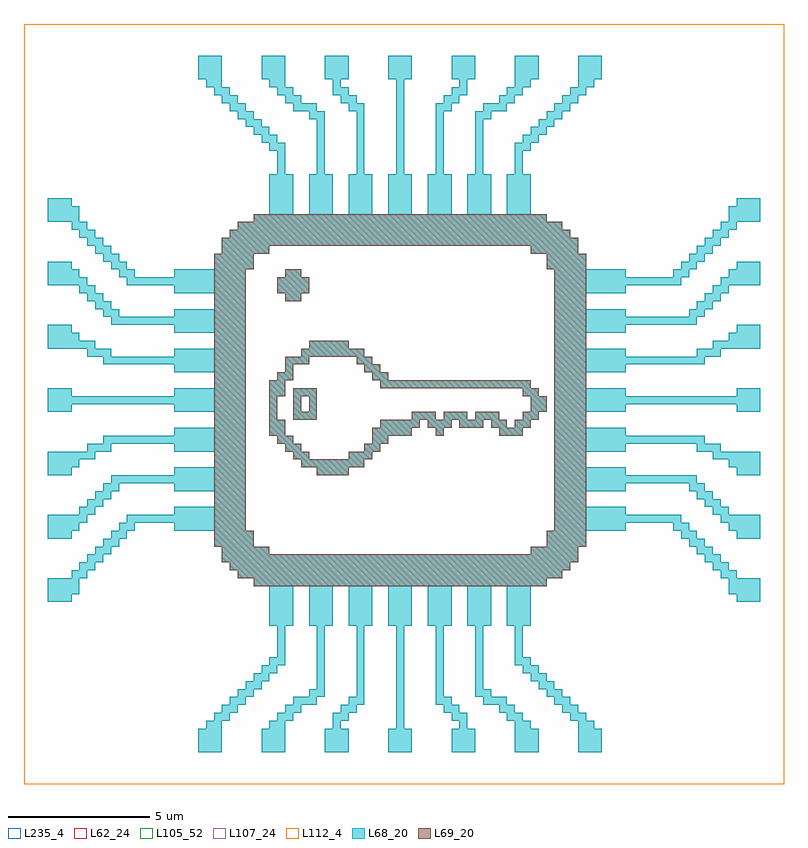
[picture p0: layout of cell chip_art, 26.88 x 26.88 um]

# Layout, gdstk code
import gdstk
lib = gdstk.Library(unit=1e-6, precision=1e-09)
def R(c, l, rs):  # rectangles x0, y0, x1, y1
    for r in rs: c.add(gdstk.rectangle(r[:2], r[2:], *l))
def A(c, l, x, y, w, h, nx, ny, dx, dy):  # array of equal rectangles
    R(c, l, [(x+i*dx, y+j*dy, x+i*dx+w, y+j*dy+h) for i in range(nx) for j in range(ny)])
L62_24 = (62, 24)
L68_20 = (68, 20)
L69_20 = (69, 20)
L105_52 = (105, 52)
L107_24 = (107, 24)
L112_4 = (112, 4)
L235_4 = (235, 4)

chip_art = lib.new_cell('chip_art')
R(chip_art, L62_24, [(0,0,26.88,26.88)])
A(chip_art, L68_20, 6.16, 1.12, 0.28, 0.28, 3, 3, 0.28, 0.28)
A(chip_art, L68_20, 8.4, 1.12, 0.28, 0.28, 3, 3, 0.28, 0.28)
A(chip_art, L68_20, 10.64, 1.12, 0.28, 0.28, 3, 3, 0.28, 0.28)
A(chip_art, L68_20, 12.88, 1.12, 0.28, 0.28, 3, 3, 0.28, 0.28)
A(chip_art, L68_20, 15.12, 1.12, 0.28, 0.28, 3, 3, 0.28, 0.28)
A(chip_art, L68_20, 17.36, 1.12, 0.28, 0.28, 3, 3, 0.28, 0.28)
A(chip_art, L68_20, 19.6, 1.12, 0.28, 0.28, 3, 3, 0.28, 0.28)
A(chip_art, L68_20, 10.92, 1.96, 0.28, 0.28, 3, 2, 2.24, 22.68)
A(chip_art, L68_20, 11.2, 2.24, 0.28, 0.28, 3, 2, 1.96, 22.12)
A(chip_art, L68_20, 11.48, 2.52, 0.28, 0.28, 3, 2, 1.68, 21.56)
A(chip_art, L68_20, 9.52, 2.8, 0.28, 0.28, 3, 2, 0.28, 10.08)
A(chip_art, L68_20, 11.76, 2.8, 0.28, 0.28, 3, 2, 1.4, 21)
A(chip_art, L68_20, 16.24, 2.8, 0.28, 0.28, 3, 2, 0.28, 21)
A(chip_art, L68_20, 10.36, 3.08, 0.28, 0.28, 5, 4, 1.4, 0.28)
A(chip_art, L68_20, 8.96, 4.2, 0.28, 0.28, 7, 5, 1.4, 0.28)
A(chip_art, L68_20, 8.68, 5.6, 0.28, 0.28, 3, 5, 0.28, 0.28)
A(chip_art, L68_20, 10.08, 5.6, 0.28, 0.28, 3, 5, 0.28, 0.28)
A(chip_art, L68_20, 11.48, 5.6, 0.28, 0.28, 3, 5, 0.28, 0.28)
A(chip_art, L68_20, 12.88, 5.6, 0.28, 0.28, 3, 5, 0.28, 0.28)
A(chip_art, L68_20, 14.28, 5.6, 0.28, 0.28, 3, 5, 0.28, 0.28)
A(chip_art, L68_20, 15.68, 5.6, 0.28, 0.28, 3, 5, 0.28, 0.28)
A(chip_art, L68_20, 17.08, 5.6, 0.28, 0.28, 3, 5, 0.28, 0.28)
A(chip_art, L68_20, 0.84, 6.44, 0.28, 0.28, 3, 4, 0.28, 2.24)
A(chip_art, L68_20, 25.2, 6.44, 0.28, 0.28, 3, 4, 0.28, 2.24)
A(chip_art, L68_20, 0.84, 6.72, 0.28, 0.28, 4, 2, 0.28, 0.28)
A(chip_art, L68_20, 24.92, 6.72, 0.28, 0.28, 4, 2, 0.28, 0.28)
A(chip_art, L68_20, 8.12, 7, 0.28, 0.28, 37, 2, 0.28, 12.88)
A(chip_art, L68_20, 7.56, 7.28, 0.28, 0.28, 41, 2, 0.28, 12.32)
A(chip_art, L68_20, 7.28, 7.56, 0.28, 0.28, 43, 2, 0.28, 11.76)
A(chip_art, L68_20, 7, 7.84, 0.28, 0.28, 45, 2, 0.28, 11.2)
A(chip_art, L68_20, 7, 8.12, 0.28, 0.28, 6, 2, 0.28, 10.64)
A(chip_art, L68_20, 17.92, 8.12, 0.28, 0.28, 6, 2, 0.28, 10.64)
A(chip_art, L68_20, 6.72, 8.4, 0.28, 0.28, 5, 2, 0.28, 0.28)
A(chip_art, L68_20, 18.48, 8.4, 0.28, 0.28, 5, 2, 0.28, 0.28)
A(chip_art, L68_20, 0.84, 8.96, 0.28, 0.28, 4, 2, 0.28, 2.24)
A(chip_art, L68_20, 5.32, 8.96, 0.28, 0.28, 9, 2, 0.28, 0.56)
A(chip_art, L68_20, 18.76, 8.96, 0.28, 0.28, 9, 2, 0.28, 0.56)
A(chip_art, L68_20, 24.92, 8.96, 0.28, 0.28, 4, 2, 0.28, 2.24)
A(chip_art, L68_20, 0.84, 9.24, 0.28, 0.28, 5, 2, 0.28, 8.4)
A(chip_art, L68_20, 3.64, 9.24, 0.28, 0.28, 15, 2, 0.28, 8.4)
A(chip_art, L68_20, 18.76, 9.24, 0.28, 0.28, 16, 2, 0.28, 8.4)
A(chip_art, L68_20, 24.64, 9.24, 0.28, 0.28, 5, 2, 0.28, 8.4)
A(chip_art, L68_20, 6.72, 9.8, 0.28, 0.28, 4, 2, 0.28, 0.28)
A(chip_art, L68_20, 18.76, 9.8, 0.28, 0.28, 4, 2, 0.28, 0.28)
A(chip_art, L68_20, 5.32, 10.36, 0.28, 0.28, 9, 2, 0.28, 0.56)
A(chip_art, L68_20, 18.76, 10.36, 0.28, 0.28, 9, 2, 0.28, 0.56)
A(chip_art, L68_20, 3.08, 10.64, 0.28, 0.28, 17, 2, 0.28, 5.6)
A(chip_art, L68_20, 18.76, 10.64, 0.28, 0.28, 18, 2, 0.28, 5.6)
A(chip_art, L68_20, 10.36, 10.92, 0.28, 0.28, 4, 1, 0.28, 0)
A(chip_art, L68_20, 6.72, 11.2, 0.28, 0.28, 4, 2, 0.28, 0.28)
A(chip_art, L68_20, 9.8, 11.2, 0.28, 0.28, 8, 2, 0.28, 3.92)
A(chip_art, L68_20, 18.76, 11.2, 0.28, 0.28, 4, 2, 0.28, 0.28)
A(chip_art, L68_20, 0.84, 11.48, 0.28, 0.28, 6, 2, 0.28, 3.92)
A(chip_art, L68_20, 11.48, 11.48, 0.28, 0.28, 3, 2, 0.28, 8.68)
A(chip_art, L68_20, 24.36, 11.48, 0.28, 0.28, 6, 2, 0.28, 3.92)
A(chip_art, L68_20, 2.24, 11.76, 0.28, 0.28, 3, 2, 0.28, 3.36)
A(chip_art, L68_20, 5.32, 11.76, 0.28, 0.28, 9, 2, 0.28, 0.56)
A(chip_art, L68_20, 18.76, 11.76, 0.28, 0.28, 9, 2, 0.28, 0.56)
A(chip_art, L68_20, 23.8, 11.76, 0.28, 0.28, 3, 2, 0.28, 3.36)
A(chip_art, L68_20, 2.8, 12.04, 0.28, 0.28, 18, 2, 0.28, 2.8)
A(chip_art, L68_20, 8.96, 12.04, 0.28, 0.28, 1, 3, 0, 0.28)
A(chip_art, L68_20, 18.76, 12.04, 0.28, 0.28, 19, 2, 0.28, 2.8)
A(chip_art, L68_20, 8.68, 12.32, 0.28, 0.28, 1, 7, 0, 0.28)
A(chip_art, L68_20, 12.32, 12.32, 0.28, 0.28, 5, 1, 0.28, 0)
A(chip_art, L68_20, 16.8, 12.32, 0.28, 0.28, 3, 1, 0.28, 0)
A(chip_art, L68_20, 6.72, 12.6, 0.28, 0.28, 4, 2, 0.28, 0.28)
A(chip_art, L68_20, 12.6, 12.6, 0.28, 0.28, 5, 1, 0.28, 0)
A(chip_art, L68_20, 14.28, 12.6, 0.28, 0.28, 3, 2, 0.28, 7.56)
A(chip_art, L68_20, 15.4, 12.6, 0.28, 0.28, 3, 1, 0.28, 0)
A(chip_art, L68_20, 18.76, 12.6, 0.28, 0.28, 4, 2, 0.28, 0.28)
A(chip_art, L68_20, 13.72, 12.88, 0.28, 0.28, 3, 1, 0.28, 0)
A(chip_art, L68_20, 14.84, 12.88, 0.28, 0.28, 3, 1, 0.28, 0)
A(chip_art, L68_20, 15.96, 12.88, 0.28, 0.28, 3, 1, 0.28, 0)
A(chip_art, L68_20, 17.92, 12.88, 0.28, 0.28, 1, 4, 0, 0.28)
A(chip_art, L68_20, 5.32, 13.16, 0.28, 0.28, 9, 2, 0.28, 0.56)
A(chip_art, L68_20, 18.76, 13.16, 0.28, 0.28, 9, 2, 0.28, 0.56)
A(chip_art, L68_20, 0.84, 13.44, 0.28, 0.28, 25, 1, 0.28, 0)
A(chip_art, L68_20, 18.76, 13.44, 0.28, 0.28, 26, 1, 0.28, 0)
A(chip_art, L68_20, 0.84, 13.72, 0.28, 0.28, 3, 4, 0.28, 2.24)
A(chip_art, L68_20, 8.96, 13.72, 0.28, 0.28, 1, 3, 0, 0.28)
A(chip_art, L68_20, 9.52, 13.72, 0.28, 0.28, 3, 2, 0.28, 10.08)
A(chip_art, L68_20, 25.2, 13.72, 0.28, 0.28, 3, 4, 0.28, 2.24)
A(chip_art, L68_20, 6.72, 14, 0.28, 0.28, 4, 2, 0.28, 0.28)
A(chip_art, L68_20, 12.6, 14, 0.28, 0.28, 19, 1, 0.28, 0)
A(chip_art, L68_20, 18.76, 14, 0.28, 0.28, 4, 2, 0.28, 0.28)
A(chip_art, L68_20, 5.32, 14.56, 0.28, 0.28, 9, 2, 0.28, 0.56)
A(chip_art, L68_20, 18.76, 14.56, 0.28, 0.28, 9, 2, 0.28, 0.56)
A(chip_art, L68_20, 9.24, 14.84, 0.28, 0.28, 3, 1, 0.28, 0)
A(chip_art, L68_20, 6.72, 15.4, 0.28, 0.28, 4, 2, 0.28, 0.28)
A(chip_art, L68_20, 10.08, 15.4, 0.28, 0.28, 5, 1, 0.28, 0)
A(chip_art, L68_20, 18.76, 15.4, 0.28, 0.28, 4, 2, 0.28, 0.28)
A(chip_art, L68_20, 0.84, 15.68, 0.28, 0.28, 4, 2, 0.28, 2.24)
A(chip_art, L68_20, 24.92, 15.68, 0.28, 0.28, 4, 2, 0.28, 2.24)
A(chip_art, L68_20, 5.32, 15.96, 0.28, 0.28, 9, 2, 0.28, 0.56)
A(chip_art, L68_20, 18.76, 15.96, 0.28, 0.28, 9, 2, 0.28, 0.56)
A(chip_art, L68_20, 6.72, 16.8, 0.28, 0.28, 4, 2, 0.28, 0.28)
A(chip_art, L68_20, 18.76, 16.8, 0.28, 0.28, 4, 2, 0.28, 0.28)
A(chip_art, L68_20, 5.32, 17.36, 0.28, 0.28, 9, 2, 0.28, 0.56)
A(chip_art, L68_20, 8.96, 17.36, 0.28, 0.28, 4, 2, 0.28, 0.28)
A(chip_art, L68_20, 18.76, 17.36, 0.28, 0.28, 9, 2, 0.28, 0.56)
A(chip_art, L68_20, 6.72, 18.2, 0.28, 0.28, 5, 2, 0.28, 0.28)
A(chip_art, L68_20, 18.48, 18.2, 0.28, 0.28, 5, 2, 0.28, 0.28)
A(chip_art, L68_20, 0.84, 19.88, 0.28, 0.28, 4, 2, 0.28, 0.28)
A(chip_art, L68_20, 24.92, 19.88, 0.28, 0.28, 4, 2, 0.28, 0.28)
A(chip_art, L68_20, 8.68, 20.16, 0.28, 0.28, 3, 5, 0.28, 0.28)
A(chip_art, L68_20, 10.08, 20.16, 0.28, 0.28, 3, 5, 0.28, 0.28)
A(chip_art, L68_20, 12.88, 20.16, 0.28, 0.28, 3, 5, 0.28, 0.28)
A(chip_art, L68_20, 15.68, 20.16, 0.28, 0.28, 3, 5, 0.28, 0.28)
A(chip_art, L68_20, 17.08, 20.16, 0.28, 0.28, 3, 5, 0.28, 0.28)
A(chip_art, L68_20, 11.48, 20.44, 0.28, 0.28, 3, 4, 0.28, 0.28)
A(chip_art, L68_20, 14.28, 20.44, 0.28, 0.28, 3, 4, 0.28, 0.28)
A(chip_art, L68_20, 8.96, 21.56, 0.28, 0.28, 7, 4, 1.4, 0.28)
A(chip_art, L68_20, 10.36, 22.68, 0.28, 0.28, 5, 4, 1.4, 0.28)
A(chip_art, L68_20, 6.16, 24.92, 0.28, 0.28, 3, 3, 0.28, 0.28)
A(chip_art, L68_20, 8.4, 24.92, 0.28, 0.28, 3, 3, 0.28, 0.28)
A(chip_art, L68_20, 10.64, 24.92, 0.28, 0.28, 3, 3, 0.28, 0.28)
A(chip_art, L68_20, 12.88, 24.92, 0.28, 0.28, 3, 3, 0.28, 0.28)
A(chip_art, L68_20, 15.12, 24.92, 0.28, 0.28, 3, 3, 0.28, 0.28)
A(chip_art, L68_20, 17.36, 24.92, 0.28, 0.28, 3, 3, 0.28, 0.28)
A(chip_art, L68_20, 19.6, 24.92, 0.28, 0.28, 3, 3, 0.28, 0.28)
R(chip_art, L68_20, [(6.44,1.96,6.72,2.24), (6.72,1.96,7,2.24), (8.68,1.96,8.96,2.24), (8.96,1.96,9.24,2.24), (17.36,1.96,17.64,2.24), (17.64,1.96,17.92,2.24), (19.6,1.96,19.88,2.24), (19.88,1.96,20.16,2.24), (6.72,2.24,7,2.52), (7,2.24,7.28,2.52), (8.96,2.24,9.24,2.52), (9.24,2.24,9.52,2.52), (10.92,2.24,11.2,2.52), (15.4,2.24,15.68,2.52), (17.08,2.24,17.36,2.52), (17.36,2.24,17.64,2.52), (19.32,2.24,19.6,2.52), (19.6,2.24,19.88,2.52), (7,2.52,7.28,2.8), (7.28,2.52,7.56,2.8), (9.24,2.52,9.52,2.8), (9.52,2.52,9.8,2.8), (11.2,2.52,11.48,2.8), (15.12,2.52,15.4,2.8), (16.8,2.52,17.08,2.8), (17.08,2.52,17.36,2.8), (19.04,2.52,19.32,2.8), (19.32,2.52,19.6,2.8), (7.28,2.8,7.56,3.08), (7.56,2.8,7.84,3.08), (11.48,2.8,11.76,3.08), (14.84,2.8,15.12,3.08), (18.76,2.8,19.04,3.08), (19.04,2.8,19.32,3.08), (7.56,3.08,7.84,3.36), (7.84,3.08,8.12,3.36), (10.08,3.08,10.36,3.36), (16.24,3.08,16.52,3.36), (18.48,3.08,18.76,3.36), (18.76,3.08,19.04,3.36), (7.84,3.36,8.12,3.64), (8.12,3.36,8.4,3.64), (18.2,3.36,18.48,3.64), (18.48,3.36,18.76,3.64), (8.12,3.64,8.4,3.92), (8.4,3.64,8.68,3.92), (17.92,3.64,18.2,3.92), (18.2,3.64,18.48,3.92), (8.4,3.92,8.68,4.2), (8.68,3.92,8.96,4.2), (17.64,3.92,17.92,4.2), (17.92,3.92,18.2,4.2), (8.68,4.2,8.96,4.48), (17.64,4.2,17.92,4.48), (1.68,7.28,1.96,7.56), (1.96,7.28,2.24,7.56), (24.64,7.28,24.92,7.56), (24.92,7.28,25.2,7.56), (1.96,7.56,2.24,7.84), (2.24,7.56,2.52,7.84), (24.36,7.56,24.64,7.84), (24.64,7.56,24.92,7.84), (2.24,7.84,2.52,8.12), (2.52,7.84,2.8,8.12), (24.08,7.84,24.36,8.12), (24.36,7.84,24.64,8.12), (2.52,8.12,2.8,8.4), (2.8,8.12,3.08,8.4), (23.8,8.12,24.08,8.4), (24.08,8.12,24.36,8.4), (2.8,8.4,3.08,8.68), (3.08,8.4,3.36,8.68), (23.52,8.4,23.8,8.68), (23.8,8.4,24.08,8.68), (3.08,8.68,3.36,8.96), (3.36,8.68,3.64,8.96), (23.24,8.68,23.52,8.96), (23.52,8.68,23.8,8.96), (3.36,8.96,3.64,9.24), (3.64,8.96,3.92,9.24), (22.96,8.96,23.24,9.24), (23.24,8.96,23.52,9.24), (1.96,9.52,2.24,9.8), (2.24,9.52,2.52,9.8), (24.36,9.52,24.64,9.8), (24.64,9.52,24.92,9.8), (2.24,9.8,2.52,10.08), (2.52,9.8,2.8,10.08), (24.08,9.8,24.36,10.08), (24.36,9.8,24.64,10.08), (2.52,10.08,2.8,10.36), (2.8,10.08,3.08,10.36), (23.8,10.08,24.08,10.36), (24.08,10.08,24.36,10.36), (2.8,10.36,3.08,10.64), (3.08,10.36,3.36,10.64), (23.52,10.36,23.8,10.64), (23.8,10.36,24.08,10.64), (9.52,11.48,9.8,11.76), (9.8,11.48,10.08,11.76), (9.24,11.76,9.52,12.04), (9.52,11.76,9.8,12.04), (12.04,11.76,12.32,12.04), (12.32,11.76,12.6,12.04), (9.24,12.04,9.52,12.32), (12.32,12.04,12.6,12.32), (12.6,12.04,12.88,12.32), (14.56,12.32,14.84,12.6), (16.52,12.6,16.8,12.88), (16.8,12.6,17.08,12.88), (17.36,12.6,17.64,12.88), (17.64,12.6,17.92,12.88), (17.64,12.88,17.92,13.16), (9.52,13.16,9.8,13.44), (10.08,13.16,10.36,13.44), (18.2,13.16,18.48,13.44), (9.52,13.44,9.8,13.72), (10.08,13.44,10.36,13.72), (18.2,13.44,18.48,13.72), (17.64,13.72,17.92,14), (9.24,14.28,9.52,14.56), (12.32,14.28,12.6,14.56), (12.6,14.28,12.88,14.56), (9.24,14.56,9.52,14.84), (12.04,14.56,12.32,14.84), (12.32,14.56,12.6,14.84), (11.76,14.84,12.04,15.12), (12.04,14.84,12.32,15.12), (2.8,16.52,3.08,16.8), (3.08,16.52,3.36,16.8), (23.52,16.52,23.8,16.8), (23.8,16.52,24.08,16.8), (2.52,16.8,2.8,17.08), (2.8,16.8,3.08,17.08), (23.8,16.8,24.08,17.08), (24.08,16.8,24.36,17.08), (2.24,17.08,2.52,17.36), (2.52,17.08,2.8,17.36), (9.24,17.08,9.52,17.36), (9.52,17.08,9.8,17.36), (24.08,17.08,24.36,17.36), (24.36,17.08,24.64,17.36), (1.96,17.36,2.24,17.64), (2.24,17.36,2.52,17.64), (24.36,17.36,24.64,17.64), (24.64,17.36,24.92,17.64), (3.36,17.92,3.64,18.2), (3.64,17.92,3.92,18.2), (9.24,17.92,9.52,18.2), (9.52,17.92,9.8,18.2), (22.96,17.92,23.24,18.2), (23.24,17.92,23.52,18.2), (3.08,18.2,3.36,18.48), (3.36,18.2,3.64,18.48), (23.24,18.2,23.52,18.48), (23.52,18.2,23.8,18.48), (2.8,18.48,3.08,18.76), (3.08,18.48,3.36,18.76), (23.52,18.48,23.8,18.76), (23.8,18.48,24.08,18.76), (2.52,18.76,2.8,19.04), (2.8,18.76,3.08,19.04), (23.8,18.76,24.08,19.04), (24.08,18.76,24.36,19.04), (2.24,19.04,2.52,19.32), (2.52,19.04,2.8,19.32), (24.08,19.04,24.36,19.32), (24.36,19.04,24.64,19.32), (1.96,19.32,2.24,19.6), (2.24,19.32,2.52,19.6), (24.36,19.32,24.64,19.6), (24.64,19.32,24.92,19.6), (1.68,19.6,1.96,19.88), (1.96,19.6,2.24,19.88), (24.64,19.6,24.92,19.88), (24.92,19.6,25.2,19.88), (8.68,22.4,8.96,22.68), (17.64,22.4,17.92,22.68), (8.4,22.68,8.68,22.96), (8.68,22.68,8.96,22.96), (17.64,22.68,17.92,22.96), (17.92,22.68,18.2,22.96), (8.12,22.96,8.4,23.24), (8.4,22.96,8.68,23.24), (17.92,22.96,18.2,23.24), (18.2,22.96,18.48,23.24), (7.84,23.24,8.12,23.52), (8.12,23.24,8.4,23.52), (18.2,23.24,18.48,23.52), (18.48,23.24,18.76,23.52), (7.56,23.52,7.84,23.8), (7.84,23.52,8.12,23.8), (10.08,23.52,10.36,23.8), (16.24,23.52,16.52,23.8), (18.48,23.52,18.76,23.8), (18.76,23.52,19.04,23.8), (7.28,23.8,7.56,24.08), (7.56,23.8,7.84,24.08), (11.48,23.8,11.76,24.08), (14.84,23.8,15.12,24.08), (18.76,23.8,19.04,24.08), (19.04,23.8,19.32,24.08), (7,24.08,7.28,24.36), (7.28,24.08,7.56,24.36), (9.24,24.08,9.52,24.36), (9.52,24.08,9.8,24.36), (11.2,24.08,11.48,24.36), (15.12,24.08,15.4,24.36), (16.8,24.08,17.08,24.36), (17.08,24.08,17.36,24.36), (19.04,24.08,19.32,24.36), (19.32,24.08,19.6,24.36), (6.72,24.36,7,24.64), (7,24.36,7.28,24.64), (8.96,24.36,9.24,24.64), (9.24,24.36,9.52,24.64), (10.92,24.36,11.2,24.64), (15.4,24.36,15.68,24.64), (17.08,24.36,17.36,24.64), (17.36,24.36,17.64,24.64), (19.32,24.36,19.6,24.64), (19.6,24.36,19.88,24.64), (6.44,24.64,6.72,24.92), (6.72,24.64,7,24.92), (8.68,24.64,8.96,24.92), (8.96,24.64,9.24,24.92), (17.36,24.64,17.64,24.92), (17.64,24.64,17.92,24.92), (19.6,24.64,19.88,24.92), (19.88,24.64,20.16,24.92)])
A(chip_art, L69_20, 8.12, 7, 0.28, 0.28, 37, 2, 0.28, 12.88)
A(chip_art, L69_20, 7.56, 7.28, 0.28, 0.28, 41, 2, 0.28, 12.32)
A(chip_art, L69_20, 7.28, 7.56, 0.28, 0.28, 43, 2, 0.28, 11.76)
A(chip_art, L69_20, 7, 7.84, 0.28, 0.28, 45, 2, 0.28, 11.2)
A(chip_art, L69_20, 7, 8.12, 0.28, 0.28, 6, 2, 0.28, 10.64)
A(chip_art, L69_20, 17.92, 8.12, 0.28, 0.28, 6, 2, 0.28, 10.64)
A(chip_art, L69_20, 6.72, 8.4, 0.28, 0.28, 5, 2, 0.28, 0.28)
A(chip_art, L69_20, 18.48, 8.4, 0.28, 0.28, 5, 2, 0.28, 0.28)
A(chip_art, L69_20, 6.72, 8.96, 0.28, 0.28, 4, 33, 0.28, 0.28)
A(chip_art, L69_20, 18.76, 8.96, 0.28, 0.28, 4, 33, 0.28, 0.28)
A(chip_art, L69_20, 10.36, 10.92, 0.28, 0.28, 4, 1, 0.28, 0)
A(chip_art, L69_20, 9.8, 11.2, 0.28, 0.28, 8, 2, 0.28, 3.92)
A(chip_art, L69_20, 11.48, 11.48, 0.28, 0.28, 3, 1, 0.28, 0)
A(chip_art, L69_20, 8.96, 12.04, 0.28, 0.28, 1, 3, 0, 0.28)
A(chip_art, L69_20, 8.68, 12.32, 0.28, 0.28, 1, 7, 0, 0.28)
A(chip_art, L69_20, 12.32, 12.32, 0.28, 0.28, 5, 1, 0.28, 0)
A(chip_art, L69_20, 16.8, 12.32, 0.28, 0.28, 3, 1, 0.28, 0)
A(chip_art, L69_20, 12.6, 12.6, 0.28, 0.28, 5, 1, 0.28, 0)
A(chip_art, L69_20, 14.28, 12.6, 0.28, 0.28, 3, 1, 0.28, 0)
A(chip_art, L69_20, 15.4, 12.6, 0.28, 0.28, 3, 1, 0.28, 0)
A(chip_art, L69_20, 9.52, 12.88, 0.28, 0.28, 3, 2, 0.28, 0.84)
A(chip_art, L69_20, 13.72, 12.88, 0.28, 0.28, 3, 1, 0.28, 0)
A(chip_art, L69_20, 14.84, 12.88, 0.28, 0.28, 3, 1, 0.28, 0)
A(chip_art, L69_20, 15.96, 12.88, 0.28, 0.28, 3, 1, 0.28, 0)
A(chip_art, L69_20, 17.92, 12.88, 0.28, 0.28, 1, 4, 0, 0.28)
A(chip_art, L69_20, 8.96, 13.72, 0.28, 0.28, 1, 3, 0, 0.28)
A(chip_art, L69_20, 12.6, 14, 0.28, 0.28, 19, 1, 0.28, 0)
A(chip_art, L69_20, 9.24, 14.84, 0.28, 0.28, 3, 1, 0.28, 0)
A(chip_art, L69_20, 10.08, 15.4, 0.28, 0.28, 5, 1, 0.28, 0)
A(chip_art, L69_20, 8.96, 17.36, 0.28, 0.28, 4, 2, 0.28, 0.28)
A(chip_art, L69_20, 6.72, 18.2, 0.28, 0.28, 5, 2, 0.28, 0.28)
A(chip_art, L69_20, 18.48, 18.2, 0.28, 0.28, 5, 2, 0.28, 0.28)
R(chip_art, L69_20, [(9.52,11.48,9.8,11.76), (9.8,11.48,10.08,11.76), (9.24,11.76,9.52,12.04), (9.52,11.76,9.8,12.04), (12.04,11.76,12.32,12.04), (12.32,11.76,12.6,12.04), (9.24,12.04,9.52,12.32), (12.32,12.04,12.6,12.32), (12.6,12.04,12.88,12.32), (14.56,12.32,14.84,12.6), (16.52,12.6,16.8,12.88), (16.8,12.6,17.08,12.88), (17.36,12.6,17.64,12.88), (17.64,12.6,17.92,12.88), (17.64,12.88,17.92,13.16), (9.52,13.16,9.8,13.44), (10.08,13.16,10.36,13.44), (18.2,13.16,18.48,13.44), (9.52,13.44,9.8,13.72), (10.08,13.44,10.36,13.72), (18.2,13.44,18.48,13.72), (17.64,13.72,17.92,14), (9.24,14.28,9.52,14.56), (12.32,14.28,12.6,14.56), (12.6,14.28,12.88,14.56), (9.24,14.56,9.52,14.84), (12.04,14.56,12.32,14.84), (12.32,14.56,12.6,14.84), (11.76,14.84,12.04,15.12), (12.04,14.84,12.32,15.12), (9.24,17.08,9.52,17.36), (9.52,17.08,9.8,17.36), (9.24,17.92,9.52,18.2), (9.52,17.92,9.8,18.2)])
R(chip_art, L105_52, [(0,0,26.88,26.88)])
R(chip_art, L107_24, [(0,0,26.88,26.88)])
R(chip_art, L112_4, [(0,0,26.88,26.88)])
R(chip_art, L235_4, [(0,0,26.88,26.88)])

lib.write_gds('chip_art.gds')
